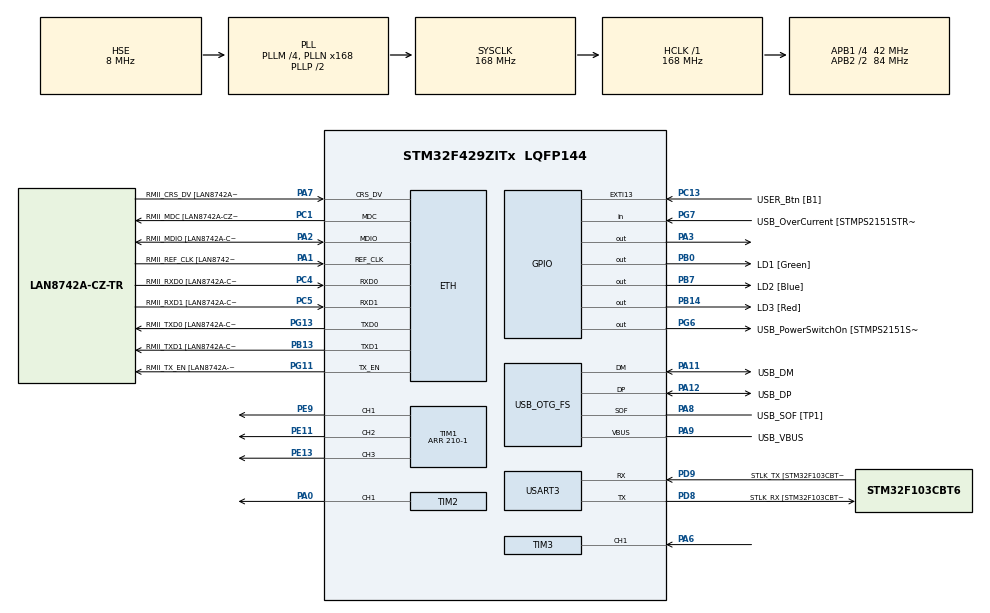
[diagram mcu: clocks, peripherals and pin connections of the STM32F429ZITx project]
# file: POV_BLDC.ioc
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Dma.Request0=TIM1_CH1
Dma.Request1=TIM1_CH2
Dma.Request2=TIM1_CH3
Dma.TIM1_CH1.0.Direction=DMA_MEMORY_TO_PERIPH
Dma.TIM1_CH1.0.FIFOMode=DMA_FIFOMODE_DISABLE
Dma.TIM1_CH1.0.Instance=DMA2_Stream1
Dma.TIM1_CH1.0.MemDataAlignment=DMA_MDATAALIGN_HALFWORD
Dma.TIM1_CH1.0.MemInc=DMA_MINC_ENABLE
Dma.TIM1_CH1.0.Mode=DMA_NORMAL
Dma.TIM1_CH1.0.PeriphDataAlignment=DMA_PDATAALIGN_HALFWORD
Dma.TIM1_CH1.0.PeriphInc=DMA_PINC_DISABLE
Dma.TIM1_CH1.0.Priority=DMA_PRIORITY_LOW
Dma.TIM1_CH2.1.Direction=DMA_MEMORY_TO_PERIPH
Dma.TIM1_CH2.1.FIFOMode=DMA_FIFOMODE_DISABLE
Dma.TIM1_CH2.1.Instance=DMA2_Stream2
Dma.TIM1_CH2.1.MemDataAlignment=DMA_MDATAALIGN_HALFWORD
Dma.TIM1_CH2.1.MemInc=DMA_MINC_ENABLE
Dma.TIM1_CH2.1.Mode=DMA_NORMAL
Dma.TIM1_CH2.1.PeriphDataAlignment=DMA_PDATAALIGN_HALFWORD
Dma.TIM1_CH2.1.PeriphInc=DMA_PINC_DISABLE
Dma.TIM1_CH2.1.Priority=DMA_PRIORITY_LOW
Dma.TIM1_CH3.2.Direction=DMA_MEMORY_TO_PERIPH
Dma.TIM1_CH3.2.FIFOMode=DMA_FIFOMODE_DISABLE
Dma.TIM1_CH3.2.Instance=DMA2_Stream6
Dma.TIM1_CH3.2.MemDataAlignment=DMA_MDATAALIGN_HALFWORD
Dma.TIM1_CH3.2.MemInc=DMA_MINC_ENABLE
Dma.TIM1_CH3.2.Mode=DMA_NORMAL
Dma.TIM1_CH3.2.PeriphDataAlignment=DMA_PDATAALIGN_HALFWORD
Dma.TIM1_CH3.2.PeriphInc=DMA_PINC_DISABLE
Dma.TIM1_CH3.2.Priority=DMA_PRIORITY_LOW
ETH.MediaInterface=HAL_ETH_RMII_MODE
ETH.PHY_Name=LAN8742A_PHY_ADDRESS
ETH.PHY_Value=0
ETH.PhyAddress=0
Mcu.Family=STM32F4
Mcu.Name=STM32F429ZITx
Mcu.Package=LQFP144
NVIC.DMA2_Stream1_IRQn=true\:0\:0\:false\:false\:true\:false\:true\:true
NVIC.DMA2_Stream2_IRQn=true\:0\:0\:false\:false\:true\:false\:true\:true
NVIC.DMA2_Stream6_IRQn=true\:0\:0\:false\:false\:true\:false\:true\:true
NVIC.EXTI15_10_IRQn=true\:0\:0\:false\:false\:true\:true\:true\:true
NVIC.PriorityGroup=NVIC_PRIORITYGROUP_4
NVIC.TIM2_IRQn=true\:0\:0\:false\:false\:true\:true\:true\:true
NVIC.TIM3_IRQn=true\:0\:0\:false\:false\:true\:true\:true\:true
PA0/WKUP.Signal=S_TIM2_CH1_ETR
PA1.GPIO_Label=RMII_REF_CLK [LAN8742A-CZ-TR_REFCLK0]
PA1.Mode=RMII
PA1.Signal=ETH_REF_CLK
PA10.GPIO_Label=USB_ID
PA10.Signal=USB_OTG_FS_ID
PA11.GPIO_Label=USB_DM
PA11.Mode=Device_Only
PA11.Signal=USB_OTG_FS_DM
PA12.GPIO_Label=USB_DP
PA12.Mode=Device_Only
PA12.Signal=USB_OTG_FS_DP
PA13.GPIO_Label=TMS
PA13.Mode=Serial_Wire
PA13.Signal=SYS_JTMS-SWDIO
PA14.GPIO_Label=TCK
PA14.Mode=Serial_Wire
PA14.Signal=SYS_JTCK-SWCLK
PA2.GPIO_Label=RMII_MDIO [LAN8742A-CZ-TR_MDIO]
PA2.Mode=RMII
PA2.Signal=ETH_MDIO
PA3.Signal=GPIO_Output
PA6.Signal=S_TIM3_CH1
PA7.GPIO_Label=RMII_CRS_DV [LAN8742A-CZ-TR_CRS_DV]
PA7.Mode=RMII
PA7.Signal=ETH_CRS_DV
PA8.GPIO_Label=USB_SOF [TP1]
PA8.Mode=Activate_SOF_FS
PA8.Signal=USB_OTG_FS_SOF
PA9.GPIO_Label=USB_VBUS
PA9.Mode=Activate_VBUS
PA9.Signal=USB_OTG_FS_VBUS
PB0.GPIO_Label=LD1 [Green]
PB0.Signal=GPIO_Output
PB13.GPIO_Label=RMII_TXD1 [LAN8742A-CZ-TR_TXD1]
PB13.Mode=RMII
PB13.Signal=ETH_TXD1
PB14.GPIO_Label=LD3 [Red]
PB14.Signal=GPIO_Output
PB7.GPIO_Label=LD2 [Blue]
PB7.Signal=GPIO_Output
PC1.GPIO_Label=RMII_MDC [LAN8742A-CZ-TR_MDC]
PC1.Mode=RMII
PC1.Signal=ETH_MDC
PC13.GPIO_Label=USER_Btn [B1]
PC13.GPIO_PuPd=GPIO_PULLDOWN
PC13.Signal=GPXTI13
PC14/OSC32_IN.Mode=LSE-External-Oscillator
PC14/OSC32_IN.Signal=RCC_OSC32_IN
PC15/OSC32_OUT.Mode=LSE-External-Oscillator
PC15/OSC32_OUT.Signal=RCC_OSC32_OUT
PC4.GPIO_Label=RMII_RXD0 [LAN8742A-CZ-TR_RXD0]
PC4.Mode=RMII
PC4.Signal=ETH_RXD0
PC5.GPIO_Label=RMII_RXD1 [LAN8742A-CZ-TR_RXD1]
PC5.Mode=RMII
PC5.Signal=ETH_RXD1
PD8.GPIO_Label=STLK_RX [STM32F103CBT6_PA3]
PD8.Mode=Asynchronous
PD8.Signal=USART3_TX
PD9.GPIO_Label=STLK_TX [STM32F103CBT6_PA2]
PD9.Mode=Asynchronous
PD9.Signal=USART3_RX
PE11.Signal=S_TIM1_CH2
PE13.Signal=S_TIM1_CH3
PE9.Signal=S_TIM1_CH1
PG11.GPIO_Label=RMII_TX_EN [LAN8742A-CZ-TR_TXEN]
PG11.Mode=RMII
PG11.Signal=ETH_TX_EN
PG13.GPIO_Label=RMII_TXD0 [LAN8742A-CZ-TR_TXD0]
PG13.Mode=RMII
PG13.Signal=ETH_TXD0
PG6.GPIO_Label=USB_PowerSwitchOn [STMPS2151STR_EN]
PG6.Signal=GPIO_Output
PG7.GPIO_Label=USB_OverCurrent [STMPS2151STR_FAULT]
PG7.Signal=GPIO_Input
PH0/OSC_IN.GPIO_Label=MCO [STM32F103CBT6_PA8]
PH0/OSC_IN.Mode=HSE-External-Clock-Source
PH0/OSC_IN.Signal=RCC_OSC_IN
PH1/OSC_OUT.Mode=HSE-External-Clock-Source
PH1/OSC_OUT.Signal=RCC_OSC_OUT
ProjectManager.HeapSize=0x200
ProjectManager.StackSize=0x400
ProjectManager.TargetToolchain=STM32CubeIDE
RCC.48MHZClocksFreq_Value=48000000
RCC.AHBFreq_Value=168000000
RCC.APB1CLKDivider=RCC_HCLK_DIV4
RCC.APB1Freq_Value=42000000
RCC.APB1TimFreq_Value=84000000
RCC.APB2CLKDivider=RCC_HCLK_DIV2
RCC.APB2Freq_Value=84000000
RCC.APB2TimCLKDivider=2
RCC.APB2TimFreq_Value=168000000
RCC.CortexFreq_Value=168000000
RCC.HCLKFreq_Value=168000000
RCC.HSE_VALUE=8000000
RCC.HSI_VALUE=16000000
RCC.PLLM=4
RCC.PLLMUL=RCC_PLL_MUL9
RCC.PLLN=168
RCC.PLLQ=7
RCC.PRESCALERUSB=RCC_USBCLKSOURCE_PLL_DIV1_5
RCC.SYSCLKFreq_VALUE=168000000
RCC.SYSCLKSource=RCC_SYSCLKSOURCE_PLLCLK
RCC.SYSCLKSourceVirtual=RCC_SYSCLKSOURCE_PLLCLK
RCC.USBFreq_Value=48000000
RCC.VCOOutputFreq_Value=336000000
SH.S_TIM1_CH1.0=TIM1_CH1,PWM Generation1 CH1
SH.S_TIM1_CH2.0=TIM1_CH2,PWM Generation2 CH2
SH.S_TIM1_CH3.0=TIM1_CH3,PWM Generation3 CH3
SH.S_TIM2_CH1_ETR.0=TIM2_CH1,PWM Generation1 CH1
SH.S_TIM3_CH1.0=TIM3_CH1,PWM_Input_1
TIM1.Channel-PWM\ Generation1\ CH1=TIM_CHANNEL_1
TIM1.Channel-PWM\ Generation2\ CH2=TIM_CHANNEL_2
TIM1.Channel-PWM\ Generation3\ CH3=TIM_CHANNEL_3
TIM1.Period=210-1
TIM2.Channel-PWM\ Generation1\ CH1=TIM_CHANNEL_1
TIM2.Period=2000-1
TIM2.Prescaler=840-1
TIM3.ICPolarity_1=TIM_INPUTCHANNELPOLARITY_FALLING
TIM3.Prescaler=84-1
USART3.VirtualMode=VM_ASYNC
USB_OTG_FS.VirtualMode=Device_Only
VP_TIM1_VS_ClockSourceINT.Mode=Internal
VP_TIM2_VS_ClockSourceINT.Mode=Internal
VP_TIM3_VS_ClockSourceINT.Mode=Internal
board=NUCLEO-F429ZI

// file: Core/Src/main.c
/* USER CODE BEGIN Header */
/**
  ******************************************************************************
  * @file           : main.c
  * @brief          : Main program body
  ******************************************************************************
  * @attention
  *
  * Copyright (c) 2022 STMicroelectronics.
  * All rights reserved.
  *
  * This software is licensed under terms that can be found in the LICENSE file
  * in the root directory of this software component.
  * If no LICENSE file comes with this software, it is provided AS-IS.
  *
  ******************************************************************************
  */
/* USER CODE END Header */
#include "main.h"
#include "string.h"

/* USER CODE BEGIN Includes */
#include <stdio.h>
#include <stdlib.h>
#include <inttypes.h>
#include "LEDData.h"
/* USER CODE END Includes */

/* USER CODE BEGIN PD */
//#define LED_NUM 25
#define LED_STRIPS 3
//#define LED_WIDTH 30
#define REQ_FREQ 50

#define LED_HIGH 151
#define LED_LOW 59
/* USER CODE END PD */

ETH_TxPacketConfig TxConfig;
ETH_DMADescTypeDef  DMARxDscrTab[ETH_RX_DESC_CNT]; /* Ethernet Rx DMA Descriptors */
ETH_DMADescTypeDef  DMATxDscrTab[ETH_TX_DESC_CNT]; /* Ethernet Tx DMA Descriptors */

 ETH_HandleTypeDef heth;

TIM_HandleTypeDef htim1;
TIM_HandleTypeDef htim2;
TIM_HandleTypeDef htim3;
DMA_HandleTypeDef hdma_tim1_ch1;
DMA_HandleTypeDef hdma_tim1_ch2;
DMA_HandleTypeDef hdma_tim1_ch3;

UART_HandleTypeDef huart3;

PCD_HandleTypeDef hpcd_USB_OTG_FS;

/* USER CODE BEGIN PV */
int32_t ICValue = 0;
//int32_t Duty = 0;
int32_t FrequencyInt = 0;
float Frequency = 0;
float err = 0;
float PWMValue = 150;
int32_t PWMValueInt = 150;
int32_t controlActive = 0;

uint16_t PWMData[LED_STRIPS][24 * LED_NUM + 50];
uint32_t color = 0;
int cursor = 0;
int cursorInit = 0;
int loopCount = 0;
/* USER CODE END PV */

void SystemClock_Config(void);
static void MX_GPIO_Init(void);
static void MX_ETH_Init(void);
static void MX_USB_OTG_FS_PCD_Init(void);
static void MX_TIM2_Init(void);
static void MX_DMA_Init(void);
static void MX_TIM1_Init(void);
static void MX_USART3_UART_Init(void);
static void MX_TIM3_Init(void);

/* USER CODE BEGIN 0 */
int _write(int fd, char* ptr, int len) {
	HAL_UART_Transmit(&huart3, (uint8_t *) ptr, len, HAL_MAX_DELAY);
	return len;
}
int _read(int fd, char* ptr, int len) {
	HAL_UART_Receive(&huart3, (uint8_t *) ptr, 1, HAL_MAX_DELAY);
//	HAL_UART_Transmit(&huart3, (uint8_t *) ptr, 1, HAL_MAX_DELAY);
	return 1;
}

void HAL_TIM_IC_CaptureCallback(TIM_HandleTypeDef *htim){
	if(htim->Channel == HAL_TIM_ACTIVE_CHANNEL_1){
		if(htim->Instance == htim3.Instance){
//			HAL_GPIO_WritePin(GPIOB, GPIO_PIN_7, GPIO_PIN_SET);
			if(controlActive){
				ICValue = HAL_TIM_ReadCapturedValue(htim, TIM_CHANNEL_1);
				if(ICValue){
//					Duty = (HAL_TIM_ReadCapturedValue(htim, TIM_CHANNEL_2) *100)/ICValue;
					Frequency = 1000000.0 / ICValue;
					FrequencyInt = Frequency;
					err = (REQ_FREQ - Frequency) > 100 ? 100 : (REQ_FREQ - Frequency) ;
					err = err < -100 ? -100 : err ;
					PWMValue += err/7.5;
					if(PWMValue > 200) PWMValue = 200;
					if(PWMValue < 100) PWMValue = 100;
					PWMValueInt = PWMValue;
					TIM2->CCR1 = PWMValueInt;
//					printf("%" PRId32 ", %" PRId32 "\r\n", FrequencyInt, PWMValueInt);

					if(loopCount == 0)
						cursor = cursorInit;
					++loopCount;
					loopCount %= LED_STRIPS;
				}
			}
		}
	}
}

void HAL_GPIO_EXTI_Callback(uint16_t GPIO_Pin){
	if(GPIO_Pin == GPIO_PIN_13){
		HAL_GPIO_TogglePin(GPIOB, GPIO_PIN_7);
		cursorInit += (LED_WIDTH/LED_STRIPS)/2;
		cursorInit %= LED_WIDTH;
	}
}
/* USER CODE END 0 */

int main(void)
{
  /* USER CODE BEGIN 1 */
//	uint8_t LEDData[LED_WIDTH][LED_NUM][3];

	for(int i = 0; i < 24 * LED_NUM + 50; ++i){
		for(int j = 0; j < LED_STRIPS; ++j)
		PWMData[j][i] = 0;
	}

	int loopTime = (168000000/REQ_FREQ) / (LED_WIDTH/3);
  /* USER CODE END 1 */

  /* MCU Configuration--------------------------------------------------------*/

  /* Reset of all peripherals, Initializes the Flash interface and the Systick. */
  HAL_Init();

  /* Configure the system clock */
  SystemClock_Config();

  /* Initialize all configured peripherals */
  MX_GPIO_Init();
  MX_ETH_Init();
  MX_USB_OTG_FS_PCD_Init();
  MX_TIM2_Init();
  MX_DMA_Init();
  MX_TIM1_Init();
  MX_USART3_UART_Init();
  MX_TIM3_Init();
  /* USER CODE BEGIN 2 */
  HAL_TIM_IC_Start_IT(&htim3, TIM_CHANNEL_1);
  HAL_TIM_IC_Start(&htim3, TIM_CHANNEL_2);

  CoreDebug->DEMCR |= CoreDebug_DEMCR_TRCENA_Msk;
  DWT->CYCCNT = 0;
  DWT->CTRL |= DWT_CTRL_CYCCNTENA_Msk;

  HAL_GPIO_WritePin(GPIOA, GPIO_PIN_3, GPIO_PIN_RESET);
  controlActive = 0;
  HAL_Delay(1000);

  TIM2->CCR1 = 200;
  HAL_TIM_PWM_Start_IT(&htim2, TIM_CHANNEL_1);

  HAL_GPIO_WritePin(GPIOA, GPIO_PIN_3, GPIO_PIN_SET);
  HAL_Delay(3000);
  TIM2->CCR1 = 100;
  HAL_Delay(1000);
  TIM2->CCR1 = 200;
  HAL_Delay(1000);
  TIM2->CCR1 = 150;
  HAL_Delay(3000);
  controlActive = 1;
  /* USER CODE END 2 */

  /* Infinite loop */
  while (1)
  {

    /* USER CODE BEGIN 3 */
	  DWT->CYCCNT = 0;

	  for(int m = 0; m < LED_STRIPS; ++m){
		  int indx = 0;
		  for(int i = 0; i < LED_NUM; ++i){
			  color = LEDData[(cursor + m*LED_WIDTH/LED_STRIPS)%LED_WIDTH][i][0] << 16;
			  color |= LEDData[(cursor + m*LED_WIDTH/LED_STRIPS)%LED_WIDTH][i][1] << 8;
			  color |= LEDData[(cursor + m*LED_WIDTH/LED_STRIPS)%LED_WIDTH][i][2];
//			  color = ((LEDData[m][i][0]<<16) | (LEDData[m][i][1]<<8) | (LEDData[m][i][2]));
			  for(int j = 23; j >= 0; --j){
				  if (color & (1 << j))
					  PWMData[m][indx] = LED_HIGH;
				  else
					  PWMData[m][indx] = LED_LOW;
				  ++indx;
			  }
		  }
	  }
	  HAL_TIM_PWM_Start_DMA(&htim1, TIM_CHANNEL_1, (uint32_t *)PWMData[0], 24 * LED_NUM + 50);
	  HAL_TIM_PWM_Start_DMA(&htim1, TIM_CHANNEL_2, (uint32_t *)PWMData[1], 24 * LED_NUM + 50);
	  HAL_TIM_PWM_Start_DMA(&htim1, TIM_CHANNEL_3, (uint32_t *)PWMData[2], 24 * LED_NUM + 50);

	  ++cursor;
	  cursor %= LED_WIDTH;
	  while(DWT->CYCCNT < loopTime);
  }
  /* USER CODE END 3 */
}

void SystemClock_Config(void)
{
  RCC_OscInitTypeDef RCC_OscInitStruct = {0};
  RCC_ClkInitTypeDef RCC_ClkInitStruct = {0};

  /** Configure the main internal regulator output voltage
  */
  __HAL_RCC_PWR_CLK_ENABLE();
  __HAL_PWR_VOLTAGESCALING_CONFIG(PWR_REGULATOR_VOLTAGE_SCALE1);

  /** Initializes the RCC Oscillators according to the specified parameters
  * in the RCC_OscInitTypeDef structure.
  */
  RCC_OscInitStruct.OscillatorType = RCC_OSCILLATORTYPE_HSE;
  RCC_OscInitStruct.HSEState = RCC_HSE_BYPASS;
  RCC_OscInitStruct.PLL.PLLState = RCC_PLL_ON;
  RCC_OscInitStruct.PLL.PLLSource = RCC_PLLSOURCE_HSE;
  RCC_OscInitStruct.PLL.PLLM = 4;
  RCC_OscInitStruct.PLL.PLLN = 168;
  RCC_OscInitStruct.PLL.PLLP = RCC_PLLP_DIV2;
  RCC_OscInitStruct.PLL.PLLQ = 7;
  if (HAL_RCC_OscConfig(&RCC_OscInitStruct) != HAL_OK)
  {
    Error_Handler();
  }

  /** Initializes the CPU, AHB and APB buses clocks
  */
  RCC_ClkInitStruct.ClockType = RCC_CLOCKTYPE_HCLK|RCC_CLOCKTYPE_SYSCLK
                              |RCC_CLOCKTYPE_PCLK1|RCC_CLOCKTYPE_PCLK2;
  RCC_ClkInitStruct.SYSCLKSource = RCC_SYSCLKSOURCE_PLLCLK;
  RCC_ClkInitStruct.AHBCLKDivider = RCC_SYSCLK_DIV1;
  RCC_ClkInitStruct.APB1CLKDivider = RCC_HCLK_DIV4;
  RCC_ClkInitStruct.APB2CLKDivider = RCC_HCLK_DIV2;

  if (HAL_RCC_ClockConfig(&RCC_ClkInitStruct, FLASH_LATENCY_5) != HAL_OK)
  {
    Error_Handler();
  }
}

static void MX_ETH_Init(void)
{

   static uint8_t MACAddr[6];

  heth.Instance = ETH;
  MACAddr[0] = 0x00;
  MACAddr[1] = 0x80;
  MACAddr[2] = 0xE1;
  MACAddr[3] = 0x00;
  MACAddr[4] = 0x00;
  MACAddr[5] = 0x00;
  heth.Init.MACAddr = &MACAddr[0];
  heth.Init.MediaInterface = HAL_ETH_RMII_MODE;
  heth.Init.TxDesc = DMATxDscrTab;
  heth.Init.RxDesc = DMARxDscrTab;
  heth.Init.RxBuffLen = 1524;

  if (HAL_ETH_Init(&heth) != HAL_OK)
  {
    Error_Handler();
  }

  memset(&TxConfig, 0 , sizeof(ETH_TxPacketConfig));
  TxConfig.Attributes = ETH_TX_PACKETS_FEATURES_CSUM | ETH_TX_PACKETS_FEATURES_CRCPAD;
  TxConfig.ChecksumCtrl = ETH_CHECKSUM_IPHDR_PAYLOAD_INSERT_PHDR_CALC;
  TxConfig.CRCPadCtrl = ETH_CRC_PAD_INSERT;

}

static void MX_TIM1_Init(void)
{

  TIM_ClockConfigTypeDef sClockSourceConfig = {0};
  TIM_MasterConfigTypeDef sMasterConfig = {0};
  TIM_OC_InitTypeDef sConfigOC = {0};
  TIM_BreakDeadTimeConfigTypeDef sBreakDeadTimeConfig = {0};

  htim1.Instance = TIM1;
  htim1.Init.Prescaler = 0;
  htim1.Init.CounterMode = TIM_COUNTERMODE_UP;
  htim1.Init.Period = 210-1;
  htim1.Init.ClockDivision = TIM_CLOCKDIVISION_DIV1;
  htim1.Init.RepetitionCounter = 0;
  htim1.Init.AutoReloadPreload = TIM_AUTORELOAD_PRELOAD_DISABLE;
  if (HAL_TIM_Base_Init(&htim1) != HAL_OK)
  {
    Error_Handler();
  }
  sClockSourceConfig.ClockSource = TIM_CLOCKSOURCE_INTERNAL;
  if (HAL_TIM_ConfigClockSource(&htim1, &sClockSourceConfig) != HAL_OK)
  {
    Error_Handler();
  }
  if (HAL_TIM_PWM_Init(&htim1) != HAL_OK)
  {
    Error_Handler();
  }
  sMasterConfig.MasterOutputTrigger = TIM_TRGO_RESET;
  sMasterConfig.MasterSlaveMode = TIM_MASTERSLAVEMODE_DISABLE;
  if (HAL_TIMEx_MasterConfigSynchronization(&htim1, &sMasterConfig) != HAL_OK)
  {
    Error_Handler();
  }
  sConfigOC.OCMode = TIM_OCMODE_PWM1;
  sConfigOC.Pulse = 0;
  sConfigOC.OCPolarity = TIM_OCPOLARITY_HIGH;
  sConfigOC.OCNPolarity = TIM_OCNPOLARITY_HIGH;
  sConfigOC.OCFastMode = TIM_OCFAST_DISABLE;
  sConfigOC.OCIdleState = TIM_OCIDLESTATE_RESET;
  sConfigOC.OCNIdleState = TIM_OCNIDLESTATE_RESET;
  if (HAL_TIM_PWM_ConfigChannel(&htim1, &sConfigOC, TIM_CHANNEL_1) != HAL_OK)
  {
    Error_Handler();
  }
  if (HAL_TIM_PWM_ConfigChannel(&htim1, &sConfigOC, TIM_CHANNEL_2) != HAL_OK)
  {
    Error_Handler();
  }
  if (HAL_TIM_PWM_ConfigChannel(&htim1, &sConfigOC, TIM_CHANNEL_3) != HAL_OK)
  {
    Error_Handler();
  }
  sBreakDeadTimeConfig.OffStateRunMode = TIM_OSSR_DISABLE;
  sBreakDeadTimeConfig.OffStateIDLEMode = TIM_OSSI_DISABLE;
  sBreakDeadTimeConfig.LockLevel = TIM_LOCKLEVEL_OFF;
  sBreakDeadTimeConfig.DeadTime = 0;
  sBreakDeadTimeConfig.BreakState = TIM_BREAK_DISABLE;
  sBreakDeadTimeConfig.BreakPolarity = TIM_BREAKPOLARITY_HIGH;
  sBreakDeadTimeConfig.AutomaticOutput = TIM_AUTOMATICOUTPUT_DISABLE;
  if (HAL_TIMEx_ConfigBreakDeadTime(&htim1, &sBreakDeadTimeConfig) != HAL_OK)
  {
    Error_Handler();
  }
  HAL_TIM_MspPostInit(&htim1);

}

static void MX_TIM2_Init(void)
{

  TIM_ClockConfigTypeDef sClockSourceConfig = {0};
  TIM_MasterConfigTypeDef sMasterConfig = {0};
  TIM_OC_InitTypeDef sConfigOC = {0};

  htim2.Instance = TIM2;
  htim2.Init.Prescaler = 840-1;
  htim2.Init.CounterMode = TIM_COUNTERMODE_UP;
  htim2.Init.Period = 2000-1;
  htim2.Init.ClockDivision = TIM_CLOCKDIVISION_DIV1;
  htim2.Init.AutoReloadPreload = TIM_AUTORELOAD_PRELOAD_DISABLE;
  if (HAL_TIM_Base_Init(&htim2) != HAL_OK)
  {
    Error_Handler();
  }
  sClockSourceConfig.ClockSource = TIM_CLOCKSOURCE_INTERNAL;
  if (HAL_TIM_ConfigClockSource(&htim2, &sClockSourceConfig) != HAL_OK)
  {
    Error_Handler();
  }
  if (HAL_TIM_PWM_Init(&htim2) != HAL_OK)
  {
    Error_Handler();
  }
  sMasterConfig.MasterOutputTrigger = TIM_TRGO_RESET;
  sMasterConfig.MasterSlaveMode = TIM_MASTERSLAVEMODE_DISABLE;
  if (HAL_TIMEx_MasterConfigSynchronization(&htim2, &sMasterConfig) != HAL_OK)
  {
    Error_Handler();
  }
  sConfigOC.OCMode = TIM_OCMODE_PWM1;
  sConfigOC.Pulse = 0;
  sConfigOC.OCPolarity = TIM_OCPOLARITY_HIGH;
  sConfigOC.OCFastMode = TIM_OCFAST_DISABLE;
  if (HAL_TIM_PWM_ConfigChannel(&htim2, &sConfigOC, TIM_CHANNEL_1) != HAL_OK)
  {
    Error_Handler();
  }
  HAL_TIM_MspPostInit(&htim2);

}

static void MX_TIM3_Init(void)
{

  TIM_ClockConfigTypeDef sClockSourceConfig = {0};
  TIM_SlaveConfigTypeDef sSlaveConfig = {0};
  TIM_IC_InitTypeDef sConfigIC = {0};
  TIM_MasterConfigTypeDef sMasterConfig = {0};

  htim3.Instance = TIM3;
  htim3.Init.Prescaler = 84-1;
  htim3.Init.CounterMode = TIM_COUNTERMODE_UP;
  htim3.Init.Period = 65535;
  htim3.Init.ClockDivision = TIM_CLOCKDIVISION_DIV1;
  htim3.Init.AutoReloadPreload = TIM_AUTORELOAD_PRELOAD_DISABLE;
  if (HAL_TIM_Base_Init(&htim3) != HAL_OK)
  {
    Error_Handler();
  }
  sClockSourceConfig.ClockSource = TIM_CLOCKSOURCE_INTERNAL;
  if (HAL_TIM_ConfigClockSource(&htim3, &sClockSourceConfig) != HAL_OK)
  {
    Error_Handler();
  }
  if (HAL_TIM_IC_Init(&htim3) != HAL_OK)
  {
    Error_Handler();
  }
  sSlaveConfig.SlaveMode = TIM_SLAVEMODE_RESET;
  sSlaveConfig.InputTrigger = TIM_TS_TI1FP1;
  sSlaveConfig.TriggerPolarity = TIM_INPUTCHANNELPOLARITY_FALLING;
  sSlaveConfig.TriggerPrescaler = TIM_ICPSC_DIV1;
  sSlaveConfig.TriggerFilter = 0;
  if (HAL_TIM_SlaveConfigSynchro(&htim3, &sSlaveConfig) != HAL_OK)
  {
    Error_Handler();
  }
  sConfigIC.ICPolarity = TIM_INPUTCHANNELPOLARITY_FALLING;
  sConfigIC.ICSelection = TIM_ICSELECTION_DIRECTTI;
  sConfigIC.ICPrescaler = TIM_ICPSC_DIV1;
  sConfigIC.ICFilter = 0;
  if (HAL_TIM_IC_ConfigChannel(&htim3, &sConfigIC, TIM_CHANNEL_1) != HAL_OK)
  {
    Error_Handler();
  }
  sConfigIC.ICPolarity = TIM_INPUTCHANNELPOLARITY_RISING;
  sConfigIC.ICSelection = TIM_ICSELECTION_INDIRECTTI;
  if (HAL_TIM_IC_ConfigChannel(&htim3, &sConfigIC, TIM_CHANNEL_2) != HAL_OK)
  {
    Error_Handler();
  }
  sMasterConfig.MasterOutputTrigger = TIM_TRGO_RESET;
  sMasterConfig.MasterSlaveMode = TIM_MASTERSLAVEMODE_DISABLE;
  if (HAL_TIMEx_MasterConfigSynchronization(&htim3, &sMasterConfig) != HAL_OK)
  {
    Error_Handler();
  }

}

static void MX_USART3_UART_Init(void)
{

  huart3.Instance = USART3;
  huart3.Init.BaudRate = 115200;
  huart3.Init.WordLength = UART_WORDLENGTH_8B;
  huart3.Init.StopBits = UART_STOPBITS_1;
  huart3.Init.Parity = UART_PARITY_NONE;
  huart3.Init.Mode = UART_MODE_TX_RX;
  huart3.Init.HwFlowCtl = UART_HWCONTROL_NONE;
  huart3.Init.OverSampling = UART_OVERSAMPLING_16;
  if (HAL_UART_Init(&huart3) != HAL_OK)
  {
    Error_Handler();
  }

}

static void MX_USB_OTG_FS_PCD_Init(void)
{

  hpcd_USB_OTG_FS.Instance = USB_OTG_FS;
  hpcd_USB_OTG_FS.Init.dev_endpoints = 4;
  hpcd_USB_OTG_FS.Init.speed = PCD_SPEED_FULL;
  hpcd_USB_OTG_FS.Init.dma_enable = DISABLE;
  hpcd_USB_OTG_FS.Init.phy_itface = PCD_PHY_EMBEDDED;
  hpcd_USB_OTG_FS.Init.Sof_enable = ENABLE;
  hpcd_USB_OTG_FS.Init.low_power_enable = DISABLE;
  hpcd_USB_OTG_FS.Init.lpm_enable = DISABLE;
  hpcd_USB_OTG_FS.Init.vbus_sensing_enable = ENABLE;
  hpcd_USB_OTG_FS.Init.use_dedicated_ep1 = DISABLE;
  if (HAL_PCD_Init(&hpcd_USB_OTG_FS) != HAL_OK)
  {
    Error_Handler();
  }

}

static void MX_DMA_Init(void)
{

  /* DMA controller clock enable */
  __HAL_RCC_DMA2_CLK_ENABLE();

  /* DMA interrupt init */
  /* DMA2_Stream1_IRQn interrupt configuration */
  HAL_NVIC_SetPriority(DMA2_Stream1_IRQn, 0, 0);
  HAL_NVIC_EnableIRQ(DMA2_Stream1_IRQn);
  /* DMA2_Stream2_IRQn interrupt configuration */
  HAL_NVIC_SetPriority(DMA2_Stream2_IRQn, 0, 0);
  HAL_NVIC_EnableIRQ(DMA2_Stream2_IRQn);
  /* DMA2_Stream6_IRQn interrupt configuration */
  HAL_NVIC_SetPriority(DMA2_Stream6_IRQn, 0, 0);
  HAL_NVIC_EnableIRQ(DMA2_Stream6_IRQn);

}

static void MX_GPIO_Init(void)
{
  GPIO_InitTypeDef GPIO_InitStruct = {0};

  /* GPIO Ports Clock Enable */
  __HAL_RCC_GPIOC_CLK_ENABLE();
  __HAL_RCC_GPIOH_CLK_ENABLE();
  __HAL_RCC_GPIOA_CLK_ENABLE();
  __HAL_RCC_GPIOB_CLK_ENABLE();
  __HAL_RCC_GPIOE_CLK_ENABLE();
  __HAL_RCC_GPIOD_CLK_ENABLE();
  __HAL_RCC_GPIOG_CLK_ENABLE();

  /*Configure GPIO pin Output Level */
  HAL_GPIO_WritePin(GPIOA, GPIO_PIN_3, GPIO_PIN_RESET);

  /*Configure GPIO pin Output Level */
  HAL_GPIO_WritePin(GPIOB, LD1_Pin|LD3_Pin|LD2_Pin, GPIO_PIN_RESET);

  /*Configure GPIO pin Output Level */
  HAL_GPIO_WritePin(USB_PowerSwitchOn_GPIO_Port, USB_PowerSwitchOn_Pin, GPIO_PIN_RESET);

  /*Configure GPIO pin : USER_Btn_Pin */
  GPIO_InitStruct.Pin = USER_Btn_Pin;
  GPIO_InitStruct.Mode = GPIO_MODE_IT_RISING;
  GPIO_InitStruct.Pull = GPIO_PULLDOWN;
  HAL_GPIO_Init(USER_Btn_GPIO_Port, &GPIO_InitStruct);

  /*Configure GPIO pin : PA3 */
  GPIO_InitStruct.Pin = GPIO_PIN_3;
  GPIO_InitStruct.Mode = GPIO_MODE_OUTPUT_PP;
  GPIO_InitStruct.Pull = GPIO_NOPULL;
  GPIO_InitStruct.Speed = GPIO_SPEED_FREQ_LOW;
  HAL_GPIO_Init(GPIOA, &GPIO_InitStruct);

  /*Configure GPIO pins : LD1_Pin LD3_Pin LD2_Pin */
  GPIO_InitStruct.Pin = LD1_Pin|LD3_Pin|LD2_Pin;
  GPIO_InitStruct.Mode = GPIO_MODE_OUTPUT_PP;
  GPIO_InitStruct.Pull = GPIO_NOPULL;
  GPIO_InitStruct.Speed = GPIO_SPEED_FREQ_LOW;
  HAL_GPIO_Init(GPIOB, &GPIO_InitStruct);

  /*Configure GPIO pin : USB_PowerSwitchOn_Pin */
  GPIO_InitStruct.Pin = USB_PowerSwitchOn_Pin;
  GPIO_InitStruct.Mode = GPIO_MODE_OUTPUT_PP;
  GPIO_InitStruct.Pull = GPIO_NOPULL;
  GPIO_InitStruct.Speed = GPIO_SPEED_FREQ_LOW;
  HAL_GPIO_Init(USB_PowerSwitchOn_GPIO_Port, &GPIO_InitStruct);

  /*Configure GPIO pin : USB_OverCurrent_Pin */
  GPIO_InitStruct.Pin = USB_OverCurrent_Pin;
  GPIO_InitStruct.Mode = GPIO_MODE_INPUT;
  GPIO_InitStruct.Pull = GPIO_NOPULL;
  HAL_GPIO_Init(USB_OverCurrent_GPIO_Port, &GPIO_InitStruct);

  /* EXTI interrupt init*/
  HAL_NVIC_SetPriority(EXTI15_10_IRQn, 0, 0);
  HAL_NVIC_EnableIRQ(EXTI15_10_IRQn);

}

void Error_Handler(void)
{
  __disable_irq();
  while (1)
  {
  }
}
